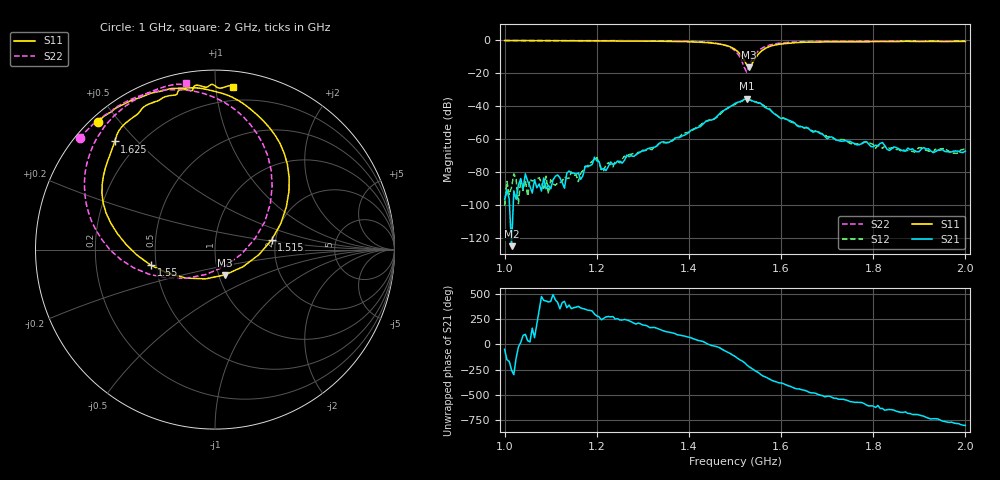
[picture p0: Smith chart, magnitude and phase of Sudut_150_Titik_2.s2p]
# Hz S RI R 50
! CMT, C1220, 16058040, 17.2.0/1
! Date: 14/08/2018 12:47:05
! Data: Format (Calibration Info)
! Freq  S11: Re/Im (F2)  S21: Re/Im (F2)  S12: Re/Im (F2)  S22: Re/Im (F2)
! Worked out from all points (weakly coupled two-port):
!   201 points, 1 GHz to 2 GHz, reference 50 ohm
!   highest |S21| = -35.51 dB at 1.525 GHz (marker M1); lowest = -124.8 dB at 1.015 GHz (marker M2)
!   lowest |S11| = -16.4 dB at 1.53 GHz (marker M3), VSWR 1.36, Z = 53.6 - j15.4 ohm
!   |S11| at or under -10 dB: 1.515 GHz to 1.547 GHz (31.33 MHz wide, 2.05 % of centre)
!   |S22| runs from -19.3 to -0.2 dB; largest |S21 - S12| = 0.00075
!   S11 on the Smith chart (normalised r, x): 1 GHz: 0.02, +0.44; 1.515 GHz: 1.91, +0.23; 1.55 GHz: 0.47, -0.09; 1.625 GHz: 0.12, +0.43; 2 GHz: 0.10, +1.11
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1e9  -0.6513 0.7133  9.53e-06 -1.12e-05  9.46e-06 -1.67e-08  -0.7539 0.6215
1.015e9  -0.6339 0.7268  -1.58e-07 5.5e-07  -7.57e-06 3.38e-05  -0.7437 0.6327
1.17e9  -0.4813 0.8239  7.83e-05 -1.24e-05  0.000112 -1.11e-05  -0.6183 0.7467
1.195e9  -0.4444 0.8393  0.00013 -0.000252  0.000163 -0.000184  -0.5898 0.7598
1.21e9  -0.4297 0.8432  -5.97e-05 -0.000104  -7.32e-05 -8.62e-05  -0.5809 0.764
1.22e9  -0.4168 0.8476  -1.09e-06 -0.000112  1.24e-05 -0.00017  -0.574 0.7739
1.23e9  -0.3995 0.8542  -1.79e-06 -0.000204  -1.59e-05 -0.000173  -0.5634 0.7838
1.255e9  -0.3566 0.871  -9.87e-05 -0.000159  -6.93e-05 -0.00024  -0.5321 0.8039
1.335e9  -0.2192 0.8982  -0.000634 0.000375  -0.000623 0.000385  -0.4041 0.8616
1.45e9  0.1835 0.794  0.00368 -0.000981  0.00372 -0.00122  0.0188 0.8374
1.5e9  0.4122 0.325  -0.00604 -0.0104  -0.00569 -0.00973  0.3185 0.3531
1.515e9  0.3158 0.0539  -0.0137 -0.00381  -0.0136 -0.00418  0.2219 0.0599
1.525e9  0.1564 -0.0953  -0.0156 0.00624  -0.0158 0.00612  0.0544 -0.0939
1.53e9  0.0558 -0.1406  -0.0116 0.0101  -0.0117 0.01  -0.0517 -0.1387
1.55e9  -0.3563 -0.0877  0.00178 0.0125  0.00125 0.0125  -0.4539 -0.1013
1.58e9  -0.6229 0.2595  0.00675 0.00036  0.00704 0.00015  -0.7059 0.2097
1.625e9  -0.5586 0.6028  0.0014 -0.00306  0.00145 -0.00284  -0.703 0.5169
1.67e9  -0.4448 0.7451  -0.000824 -0.0014  -0.000816 -0.0015  -0.6281 0.668
1.765e9  -0.2525 0.8576  -0.000557 0.00037  -0.000618 0.000367  -0.4794 0.8129
1.82e9  -0.1716 0.8923  5.78e-05 0.00079  3.36e-05 0.000529  -0.4016 0.8592
1.835e9  -0.1361 0.8861  0.000112 0.000441  0.000219 0.000484  -0.3816 0.8693
2e9  0.1016 0.9058  6.34e-05 -0.000431  0.000104 -0.000528  -0.1597 0.93
